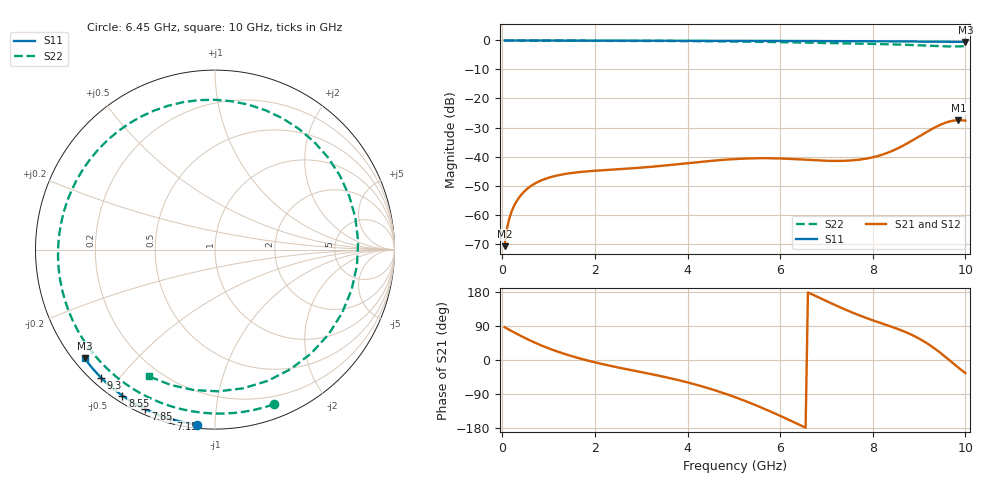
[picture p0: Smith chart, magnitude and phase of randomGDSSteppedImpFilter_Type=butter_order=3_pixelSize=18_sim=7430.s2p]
! freq	dB(S11)	phase(S11)	dB(S12)	phase(S12)
!  dB(S21)	phase(S21)	dB(S22)	phase(S22)
!S-par simulation data
#  GHz  S  DB  R 50
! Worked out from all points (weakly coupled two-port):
!   200 points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, 50 MHz to 10 GHz, reference 50 ohm
!   highest |S21| = -27.48 dB at 9.85 GHz (marker M1); lowest = -70.9 dB at 50 MHz (marker M2)
!   lowest |S11| = -0.5 dB at 10 GHz (marker M3), VSWR 35.96, Z = 1.57 - j18.1 ohm
!   |S11| at or under -10 dB: nowhere
!   |S22| runs from -2.1 to 0.0 dB; largest |S21 - S12| = 0
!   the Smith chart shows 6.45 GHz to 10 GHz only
!   S11 on the Smith chart (normalised r, x): 6.45 GHz: 0.02, -0.90; 7.15 GHz: 0.02, -0.77; 7.85 GHz: 0.02, -0.65; 8.55 GHz: 0.02, -0.55; 9.3 GHz: 0.03, -0.45; 10 GHz: 0.03, -0.36
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0.05  -0.00 -0.8  -70.90 86.5  -70.90 86.5  -0.00 -6.0
0.15  -0.00 -2.4  -61.44 79.7  -61.44 79.7  -0.02 -17.9
0.25  -0.01 -4.1  -57.14 73.2  -57.14 73.2  -0.04 -29.5
0.75  -0.02 -12.1  -48.91 43.3  -48.91 43.3  -0.09 -81.8
1.25  -0.03 -20.1  -46.32 19.9  -46.32 19.9  -0.12 -122.8
1.75  -0.04 -28.0  -45.23 1.6  -45.23 1.6  -0.12 -155.0
2.5  -0.05 -39.6  -44.39 -19.7  -44.39 -19.7  -0.14 165.2
3.4  -0.07 -53.2  -43.27 -42.0  -43.27 -42.0  -0.18 121.2
4.25  -0.09 -65.6  -41.90 -67.4  -41.90 -67.4  -0.25 76.7
5.05  -0.12 -76.9  -40.85 -99.1  -40.85 -99.1  -0.37 28.5
5.75  -0.15 -86.4  -40.59 -133.7  -40.59 -133.7  -0.52 -18.9
6.45  -0.18 -95.7  -41.03 -172.9  -41.03 -172.9  -0.70 -69.3
6.7  -0.19 -99.0  -41.26 172.7  -41.26 172.7  -0.78 -87.4
7.15  -0.22 -104.8  -41.52 147.0  -41.52 147.0  -0.91 -120.3
7.85  -0.27 -113.7  -40.76 111.3  -40.76 111.3  -1.14 -173.2
8.35  -0.31 -119.9  -38.52 90.1  -38.52 90.1  -1.32 144.0
8.55  -0.33 -122.4  -37.10 81.4  -37.10 81.4  -1.41 124.3
8.95  -0.36 -127.3  -33.57 59.7  -33.57 59.7  -1.63 77.0
9.3  -0.40 -131.6  -30.33 33.4  -30.33 33.4  -1.88 21.9
9.55  -0.43 -134.7  -28.47 10.0  -28.47 10.0  -2.03 -26.5
9.85  -0.47 -138.4  -27.48 -20.4  -27.48 -20.4  -2.05 -88.5
10  -0.48 -140.2  -27.64 -34.6  -27.64 -34.6  -1.98 -117.5
